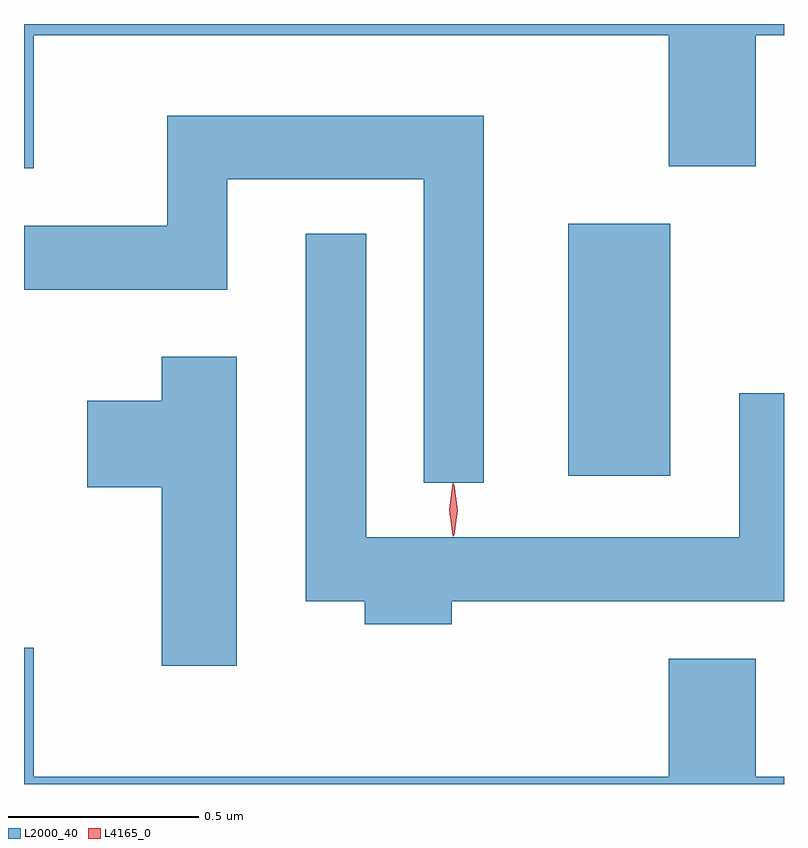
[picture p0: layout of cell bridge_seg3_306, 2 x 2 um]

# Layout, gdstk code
import gdstk
lib = gdstk.Library(unit=1e-6, precision=1e-09)
def R(c, l, rs):  # rectangles x0, y0, x1, y1
    for r in rs: c.add(gdstk.rectangle(r[:2], r[2:], *l))
def P(c, l, *ps):  # polygons
    for p in ps: c.add(gdstk.Polygon(p, *l))
L2000_40 = (2000, 40)
L4165_0 = (4165, 0)

bridge_seg3_306 = lib.new_cell('bridge_seg3_306')
R(bridge_seg3_306, L2000_40, [(1063.666,1118.196,1063.934,1118.859)])
P(bridge_seg3_306, L2000_40, [(1062.259,1119.356),(1063.931,1119.356),(1063.931,1119.011),(1064.159,1119.011),(1064.159,1119.356),(1064.234,1119.356),(1064.234,1119.385),(1062.234,1119.385),(1062.234,1119.006),(1062.259,1119.006)],
  [(1063.444,1119.144),(1062.611,1119.144),(1062.611,1118.854),(1062.234,1118.854),(1062.234,1118.686),(1062.769,1118.686),(1062.769,1118.976),(1063.286,1118.976),(1063.286,1118.178),(1063.444,1118.178)],
  [(1063.359,1117.866),(1064.234,1117.866),(1064.234,1118.413),(1064.116,1118.413),(1064.116,1118.034),(1063.134,1118.034),(1063.134,1118.833),(1062.976,1118.833),(1062.976,1117.866),(1063.131,1117.866),(1063.131,1117.806),(1063.359,1117.806)],
  [(1062.794,1118.509),(1062.596,1118.509),(1062.596,1118.394),(1062.401,1118.394),(1062.401,1118.166),(1062.596,1118.166),(1062.596,1117.696),(1062.794,1117.696)],
  [(1064.234,1117.404),(1064.159,1117.404),(1064.159,1117.714),(1063.931,1117.714),(1063.931,1117.404),(1062.259,1117.404),(1062.259,1117.744),(1062.234,1117.744),(1062.234,1117.385),(1064.234,1117.385)])
P(bridge_seg3_306, L4165_0, [(1063.363,1118.037),(1063.362,1118.038),(1063.353,1118.107),(1063.362,1118.176),(1063.363,1118.176),(1063.363,1118.176),(1063.373,1118.107),(1063.363,1118.038)],
  [(1063.365,1118.039),(1063.365,1118.04),(1063.355,1118.106),(1063.365,1118.172),(1063.365,1118.173),(1063.366,1118.172),(1063.375,1118.106),(1063.366,1118.04)])

lib.write_gds('bridge_seg3_306.gds')
